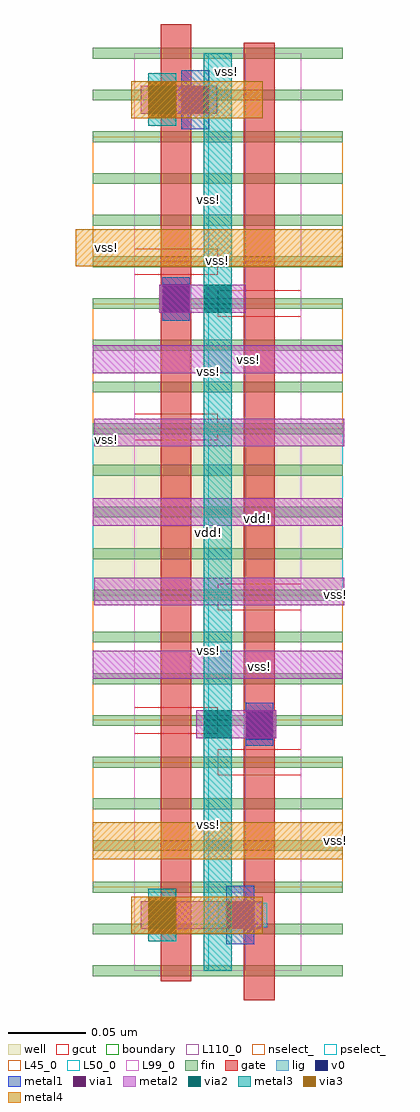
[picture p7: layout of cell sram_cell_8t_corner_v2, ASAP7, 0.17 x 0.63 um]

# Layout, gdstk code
import gdstk
lib = gdstk.Library(unit=1e-6, precision=2.5e-10)
def R(c, l, rs):  # rectangles x0, y0, x1, y1
    for r in rs: c.add(gdstk.rectangle(r[:2], r[2:], *l))
def A(c, l, x, y, w, h, nx, ny, dx, dy):  # array of equal rectangles
    R(c, l, [(x+i*dx, y+j*dy, x+i*dx+w, y+j*dy+h) for i in range(nx) for j in range(ny)])
well = (1, 0)
fin = (2, 0)
gate = (7, 0)
gcut = (10, 0)
nselect_ = (12, 0)
pselect_ = (13, 0)
lig = (16, 0)
v0 = (18, 0)
metal1 = (19, 0)
metal2 = (20, 0)
via1 = (21, 0)
via2 = (25, 0)
metal3 = (30, 0)
via3 = (35, 0)
metal4 = (40, 0)
L45_0 = (45, 0)
L50_0 = (50, 0)
L99_0 = (99, 0)
boundary = (100, 0)
L110_0 = (110, 0)

sram_cell_8t_corner_v2 = lib.new_cell('sram_cell_8t_corner_v2')
R(sram_cell_8t_corner_v2, well, [(-0.027,0.081,0.135,0.189)])
A(sram_cell_8t_corner_v2, fin, -0.027, -0.1655, 0.162, 0.007, 1, 23, 0, 0.027)
R(sram_cell_8t_corner_v2, gate, [(0.071,-0.181,0.091,0.439), (0.017,-0.169,0.037,0.451)])
R(sram_cell_8t_corner_v2, gcut, [(0.054,-0.0355,0.108,-0.0185), (0,-0.0085,0.054,0.0085), (0.054,0.0715,0.108,0.0885), (0,0.1815,0.054,0.1985), (0.054,0.2615,0.108,0.2785), (0,0.2885,0.054,0.3055)])
R(sram_cell_8t_corner_v2, nselect_, [(-0.027,-0.108,0.135,-0.027), (-0.027,0,0.135,0.081), (-0.027,0.189,0.135,0.27), (-0.027,0.297,0.135,0.378)])
R(sram_cell_8t_corner_v2, pselect_, [(-0.027,0.081,0.135,0.189)])
R(sram_cell_8t_corner_v2, lig, [(0.054,-0.134,0.086,-0.118), (0.071,-0.0115,0.092,0.0045), (0.016,0.2655,0.037,0.2815), (0.017,0.394,0.054,0.41)])
R(sram_cell_8t_corner_v2, v0, [(0.0595,-0.135,0.0775,-0.117), (0.072,-0.0125,0.09,0.0055), (0.018,0.2645,0.036,0.2825), (0.0305,0.393,0.0485,0.411)])
R(sram_cell_8t_corner_v2, metal1, [(0.0595,-0.145,0.0775,-0.107), (0.072,-0.0165,0.09,0.0115), (0.018,0.259,0.036,0.287), (0.0305,0.383,0.0485,0.421)])
A(sram_cell_8t_corner_v2, metal2, -0.027, 0.027, 0.162, 0.018, 1, 3, 0, 0.099)
R(sram_cell_8t_corner_v2, metal2, [(0.004,-0.135,0.0825,-0.117), (0.04,-0.0115,0.092,0.0065), (-0.026,0.0745,0.136,0.0925), (-0.026,0.1775,0.136,0.1955), (0.016,0.264,0.072,0.282), (0.004,0.393,0.0535,0.411)])
R(sram_cell_8t_corner_v2, via1, [(0.0595,-0.135,0.0775,-0.117), (0.072,-0.0115,0.09,0.0065), (0.018,0.264,0.036,0.282), (0.0305,0.393,0.0485,0.411)])
R(sram_cell_8t_corner_v2, via2, [(0.009,-0.135,0.027,-0.117), (0.045,-0.0115,0.063,0.0065), (0.045,0.264,0.063,0.282), (0.009,0.393,0.027,0.411)])
R(sram_cell_8t_corner_v2, metal3, [(0.045,-0.162,0.063,0.432), (0.009,-0.143,0.027,-0.109), (0.009,0.385,0.027,0.419)])
R(sram_cell_8t_corner_v2, via3, [(0.009,-0.138,0.027,-0.114), (0.009,0.39,0.027,0.414)])
R(sram_cell_8t_corner_v2, metal4, [(-0.002,-0.138,0.083,-0.114), (-0.027,-0.09,0.135,-0.066), (-0.038,0.294,0.135,0.318), (-0.002,0.39,0.083,0.414)])
R(sram_cell_8t_corner_v2, L45_0, [(0.048,-0.138,0.072,-0.114), (0.048,0.39,0.072,0.414)])
R(sram_cell_8t_corner_v2, L50_0, [(0.048,-0.162,0.072,0.432)])
R(sram_cell_8t_corner_v2, L99_0, [(0,-0.162,0.108,0.432)])
R(sram_cell_8t_corner_v2, boundary, [(0,-0.162,0.108,0.432)])
R(sram_cell_8t_corner_v2, L110_0, [(0,-0.162,0.108,0.432)])
sram_cell_8t_corner_v2.add(gdstk.Label('vss!', (0.081,0.035), layer=20, texttype=251))
sram_cell_8t_corner_v2.add(gdstk.Label('vss!', (0.074,0.234), layer=20, texttype=251))
sram_cell_8t_corner_v2.add(gdstk.Label('vdd!', (0.0795,0.1305), layer=20, texttype=251))
sram_cell_8t_corner_v2.add(gdstk.Label('vss!', (0.13,0.0815), layer=20, texttype=251))
sram_cell_8t_corner_v2.add(gdstk.Label('vss!', (-0.018,0.182), layer=20, texttype=251))
sram_cell_8t_corner_v2.add(gdstk.Label('vdd!', (0.048,0.122), layer=1, texttype=251))
sram_cell_8t_corner_v2.add(gdstk.Label('vss!', (0.048,0.0455), layer=3, texttype=251))
sram_cell_8t_corner_v2.add(gdstk.Label('vss!', (0.048,0.226), layer=3, texttype=251))
sram_cell_8t_corner_v2.add(gdstk.Label('vss!', (-0.018,0.306), layer=40, texttype=251))
sram_cell_8t_corner_v2.add(gdstk.Label('vss!', (0.13,-0.078), layer=40, texttype=251))
sram_cell_8t_corner_v2.add(gdstk.Label('vss!', (0.048,0.3375), layer=3, texttype=251))
sram_cell_8t_corner_v2.add(gdstk.Label('vss!', (0.048,-0.0675), layer=3, texttype=251))
sram_cell_8t_corner_v2.add(gdstk.Label('vss!', (0.054,0.298), layer=30, texttype=251))
sram_cell_8t_corner_v2.add(gdstk.Label('vss!', (0.06,0.42), layer=50, texttype=251))

lib.write_gds('sram_cell_8t_corner_v2.gds')
